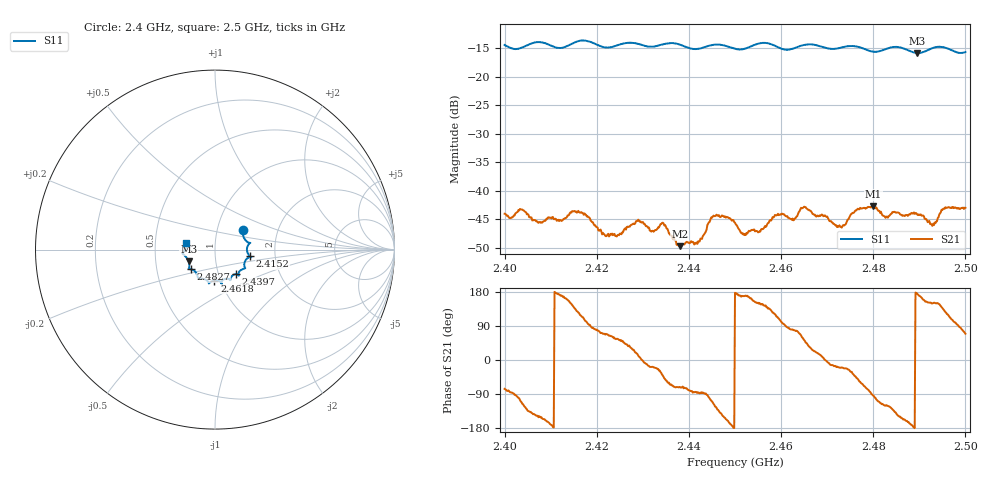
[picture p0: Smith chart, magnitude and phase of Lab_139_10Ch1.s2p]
# Hz S RI R 50
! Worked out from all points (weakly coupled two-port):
!   601 points, 2.4 GHz to 2.5 GHz, reference 50 ohm
!   highest |S21| = -42.72 dB at 2.48 GHz (marker M1); lowest = -49.7 dB at 2.438 GHz (marker M2)
!   lowest |S11| = -15.9 dB at 2.4895 GHz (marker M3), VSWR 1.38, Z = 37 - j5.03 ohm
!   |S11| at or under -10 dB: start of sweep to end of sweep
!   S12 and S22 are empty: the file has one direction only
!   S11 on the Smith chart (normalised r, x): 2.4 GHz: 1.33, +0.30; 2.4152 GHz: 1.48, -0.12; 2.4397 GHz: 1.21, -0.34; 2.4618 GHz: 0.94, -0.33; 2.4827 GHz: 0.75, -0.17; 2.5 GHz: 0.72, +0.06
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2.4e9  0.1556 0.1073  0.0015 -0.00611  0 0  0 0
2.407667e9  0.1967 0.0374  -0.00459 -0.0027  0 0  0 0
2.415167e9  0.1951 -0.0377  -0.00485 0.00455  0 0  0 0
2.416667e9  0.2024 -0.0426  -0.0028 0.00586  0 0  0 0
2.422167e9  0.1669 -0.0661  0.00151 0.00372  0 0  0 0
2.433333e9  0.1305 -0.1334  0.00439 -0.00193  0 0  0 0
2.438e9  0.1291 -0.1403  0.00106 -0.00309  0 0  0 0
2.439667e9  0.1172 -0.136  0.000774 -0.00345  0 0  0 0
2.442333e9  0.0931 -0.149  0.000125 -0.0036  0 0  0 0
2.4455e9  0.0847 -0.1701  -0.00284 -0.00528  0 0  0 0
2.45e9  0.0651 -0.1625  -0.00524 0.000249  0 0  0 0
2.452167e9  0.043 -0.1702  -0.0041 0.000771  0 0  0 0
2.461833e9  -0.00288 -0.1725  0.0008 0.00566  0 0  0 0
2.466667e9  -0.0342 -0.1882  0.0057 0.00305  0 0  0 0
2.472667e9  -0.077 -0.1603  0.00468 -0.00171  0 0  0 0
2.48e9  -0.1096 -0.1234  -0.000534 -0.00729  0 0  0 0
2.482667e9  -0.135 -0.1095  -0.00293 -0.00499  0 0  0 0
2.483333e9  -0.1401 -0.1092  -0.00315 -0.00509  0 0  0 0
2.4895e9  -0.1462 -0.0663  -0.00621 0.000469  0 0  0 0
2.492833e9  -0.175 -0.0279  -0.00424 0.00252  0 0  0 0
2.495333e9  -0.1793 -0.0184  -0.00467 0.0052  0 0  0 0
2.5e9  -0.1591 0.0389  0.0025 0.00663  0 0  0 0
